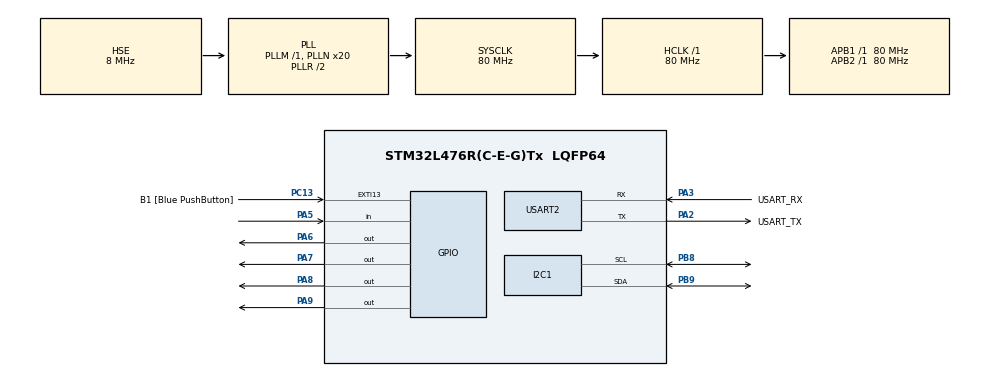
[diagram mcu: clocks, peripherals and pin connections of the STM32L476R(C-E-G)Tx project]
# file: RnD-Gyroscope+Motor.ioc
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I2C1.Timing=0x10909CEC
Mcu.Family=STM32L4
Mcu.Name=STM32L476R(C-E-G)Tx
Mcu.Package=LQFP64
NVIC.PriorityGroup=NVIC_PRIORITYGROUP_4
PA13\ (JTMS-SWDIO).GPIO_Label=TMS
PA13\ (JTMS-SWDIO).Mode=Serial_Wire
PA13\ (JTMS-SWDIO).Signal=SYS_JTMS-SWDIO
PA14\ (JTCK-SWCLK).GPIO_Label=TCK
PA14\ (JTCK-SWCLK).Mode=Serial_Wire
PA14\ (JTCK-SWCLK).Signal=SYS_JTCK-SWCLK
PA2.GPIO_Label=USART_TX
PA2.GPIO_Mode=GPIO_MODE_AF_PP
PA2.GPIO_PuPd=GPIO_NOPULL
PA2.GPIO_Speed=GPIO_SPEED_FREQ_VERY_HIGH
PA2.Mode=Asynchronous
PA2.Signal=USART2_TX
PA3.GPIO_Label=USART_RX
PA3.GPIO_Mode=GPIO_MODE_AF_PP
PA3.GPIO_PuPd=GPIO_NOPULL
PA3.GPIO_Speed=GPIO_SPEED_FREQ_VERY_HIGH
PA3.Mode=Asynchronous
PA3.Signal=USART2_RX
PA5.GPIO_PuPd=GPIO_PULLDOWN
PA5.Signal=GPIO_Input
PA6.GPIO_Speed=GPIO_SPEED_FREQ_MEDIUM
PA6.PinState=GPIO_PIN_SET
PA6.Signal=GPIO_Output
PA7.GPIO_Speed=GPIO_SPEED_FREQ_MEDIUM
PA7.PinState=GPIO_PIN_SET
PA7.Signal=GPIO_Output
PA8.GPIO_Speed=GPIO_SPEED_FREQ_MEDIUM
PA8.PinState=GPIO_PIN_SET
PA8.Signal=GPIO_Output
PA9.GPIO_Speed=GPIO_SPEED_FREQ_MEDIUM
PA9.PinState=GPIO_PIN_SET
PA9.Signal=GPIO_Output
PB3\ (JTDO-TRACESWO).GPIO_Label=SWO
PB3\ (JTDO-TRACESWO).Signal=SYS_JTDO-SWO
PB8.Mode=I2C
PB8.Signal=I2C1_SCL
PB9.Mode=I2C
PB9.Signal=I2C1_SDA
PC13.GPIO_Label=B1 [Blue PushButton]
PC13.GPIO_ModeDefaultEXTI=GPIO_MODE_IT_FALLING
PC13.GPIO_PuPd=GPIO_NOPULL
PC13.Signal=GPXTI13
PC14-OSC32_IN\ (PC14).Signal=RCC_OSC32_IN
PC15-OSC32_OUT\ (PC15).Signal=RCC_OSC32_OUT
PH0-OSC_IN\ (PH0).Mode=HSE-External-Oscillator
PH0-OSC_IN\ (PH0).Signal=RCC_OSC_IN
PH1-OSC_OUT\ (PH1).Mode=HSE-External-Oscillator
PH1-OSC_OUT\ (PH1).Signal=RCC_OSC_OUT
ProjectManager.HeapSize=0x200
ProjectManager.StackSize=0x400
ProjectManager.TargetToolchain=STM32CubeIDE
RCC.ADCFreq_Value=32000000
RCC.AHBFreq_Value=80000000
RCC.APB1Freq_Value=80000000
RCC.APB1TimFreq_Value=80000000
RCC.APB2Freq_Value=80000000
RCC.APB2TimFreq_Value=80000000
RCC.CortexFreq_Value=80000000
RCC.HCLKFreq_Value=80000000
RCC.HSE_VALUE=8000000
RCC.HSI_VALUE=16000000
RCC.MSI_VALUE=4000000
RCC.PLLN=20
RCC.PLLSourceVirtual=RCC_PLLSOURCE_HSE
RCC.PREFETCH_ENABLE=1
RCC.SYSCLKFreq_VALUE=80000000
RCC.SYSCLKSource=RCC_SYSCLKSOURCE_PLLCLK
RCC.USBFreq_Value=32000000
RCC.VCOOutputFreq_Value=160000000
TIM16.Period=10000-1
TIM16.Prescaler=8000-1
USART2.VirtualMode-Asynchronous=VM_ASYNC
VP_TIM16_VS_ClockSourceINT.Mode=Enable_Timer
board=NUCLEO-L476RG

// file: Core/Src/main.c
/* USER CODE BEGIN Header */
/**
 ******************************************************************************
 * @file           : main.c
 * @brief          : Main program body
 ******************************************************************************
 * @attention
 *
 * Copyright (c) 2023 STMicroelectronics.
 * All rights reserved.
 *
 * This software is licensed under terms that can be found in the LICENSE file
 * in the root directory of this software component.
 * If no LICENSE file comes with this software, it is provided AS-IS.
 *
 ******************************************************************************
 */
/* USER CODE END Header */
#include "main.h"

/* USER CODE BEGIN Includes */
#include "stdio.h"
#include "string.h"
#include "math.h"

/* USER CODE END Includes */

/* USER CODE BEGIN PD */
#define MPU6050_ADDR 0x68 << 1
#define SMPLRT_DIV_REG 0x19
#define GYRO_CONFIG_REG 0x1B
#define TEMP_OUT_H_REG 0x41
#define GYRO_ZOUT_H_REG 0x47
#define PWR_MGMT_1_REG 0x6B
#define WHO_AM_I_REG 0x75

/* USER CODE END PD */

I2C_HandleTypeDef hi2c1;

TIM_HandleTypeDef htim16;

UART_HandleTypeDef huart2;

/* USER CODE BEGIN PV */
int16_t gyro_raw = 0;

float gyro, gyroOffset, gyroMargin = 0;
uint16_t timer_val;
/* USER CODE END PV */

void SystemClock_Config(void);
static void MX_GPIO_Init(void);
static void MX_USART2_UART_Init(void);
static void MX_I2C1_Init(void);
static void MX_TIM16_Init(void);

/* USER CODE BEGIN 0 */
void MPU6050_Init(void)
{
    uint8_t check;
    uint8_t Data;
    char buffer[16];

    //Check WHO_AM_I address
    HAL_I2C_Mem_Read(&hi2c1, MPU6050_ADDR, WHO_AM_I_REG, 1, &check, 1, 1000);

    sprintf(buffer, "\n\rAddr: %d\n", check);
    HAL_UART_Transmit(&huart2, buffer, strlen(buffer), HAL_MAX_DELAY);
    if(check == 104)
    {
        //Write all 0's to wake sensor up
        Data = 0;
        HAL_I2C_Mem_Write(&hi2c1, MPU6050_ADDR, PWR_MGMT_1_REG, 1, &Data, 1, 1000);

        //Set data rate of 1KHz
        Data = 0x07;
        HAL_I2C_Mem_Write(&hi2c1, MPU6050_ADDR, SMPLRT_DIV_REG, 1, &Data, 1, 1000);

        //Set Gyroscopic configuration
        Data = 0xE0;
        HAL_I2C_Mem_Write(&hi2c1, MPU6050_ADDR, GYRO_CONFIG_REG, 1, &Data, 1, 1000);
    }
    else
    {
    	//Reset and look for MPU6050 again
        HAL_NVIC_SystemReset();
        HAL_Delay(1200);
    }
}

void MPU6050_Read_Gyro(void)
{
    uint8_t Rec_Data[2];

    //Get raw gyro data
    HAL_I2C_Mem_Read(&hi2c1, MPU6050_ADDR, GYRO_ZOUT_H_REG, 1, Rec_Data, 2, 1000);
    gyro_raw = (int16_t)(Rec_Data[0] << 8 | Rec_Data[1]);

    gyro = ((gyro_raw / 94.4) - gyroOffset);
}

void MPU6050_Calibrate(void)
{
    char buffer[64];
    float count = 512;
    float gyroSum = 0;

    for(int i = 0; i < count; i++)
    {
        MPU6050_Read_Gyro();

        //To get avg values
        gyroSum += gyro;

        //To get max values
        if(fabs(gyro) > gyroMargin)
            gyroMargin = fabs(gyro);
    }
    //Avg values for offset
    gyroOffset = gyroSum / count;

    //Max value for idle margin of error
    gyroMargin = ((gyroMargin - gyroOffset) * 1.1);

    sprintf(buffer, "\rGyro: |%.3f| |%.3f|\n", gyroOffset, gyroMargin);
    HAL_UART_Transmit(&huart2, buffer, strlen(buffer), HAL_MAX_DELAY);
}

void checkAngle(int angle)
{
	char buffer[16];
	float value, sum = 0;

	while(1)
	{
		MPU6050_Read_Gyro();
		if(fabs(gyro) > gyroMargin)
			sum += gyro;

		value = sum * 0.02;
		sprintf(buffer, "\rAngle: %.2f\n", value);
		HAL_UART_Transmit(&huart2, buffer, strlen(buffer), HAL_MAX_DELAY);
		if(((angle > 0) && (value >= angle)) || ((angle < 0) && (value <= angle)))
			break;
		HAL_Delay(10);
	}
}

int getSensor(void)
{
	int infared = HAL_GPIO_ReadPin(GPIOA, GPIO_PIN_5);
	if(infared == 0)
		return 1;

	return 0;
}

void forwardControl(int time)
{
	char buffer[16];
	float value, sum = 0;
	uint16_t base_time = __HAL_TIM_GET_COUNTER(&htim16);
	timer_val = __HAL_TIM_GET_COUNTER(&htim16) - base_time;

	while(timer_val < time)
	{
		if(getSensor() == 0)
			return;

		MPU6050_Read_Gyro();
		if(fabs(gyro) > gyroMargin)
			sum += gyro;

		value = sum * 0.001;
		sprintf(buffer, "\rAngle: %.2f\n", value);
		HAL_UART_Transmit(&huart2, buffer, strlen(buffer), HAL_MAX_DELAY);
		if(value <= -1)
		{
			HAL_GPIO_WritePin(GPIOA, GPIO_PIN_6, 1);	// Right motor 1
			HAL_GPIO_WritePin(GPIOA, GPIO_PIN_7, 0);	// Right motor 2
			HAL_GPIO_WritePin(GPIOA, GPIO_PIN_8, 1);	// Left motor 1
			HAL_GPIO_WritePin(GPIOA, GPIO_PIN_9, 1);	// Left motor 2
		}
		else if(value >= 1)
		{
			HAL_GPIO_WritePin(GPIOA, GPIO_PIN_6, 1);	// Right motor 1
			HAL_GPIO_WritePin(GPIOA, GPIO_PIN_7, 1);	// Right motor 2
			HAL_GPIO_WritePin(GPIOA, GPIO_PIN_8, 1);	// Left motor 1
			HAL_GPIO_WritePin(GPIOA, GPIO_PIN_9, 0);	// Left motor 2
		}
		else
		{
			HAL_GPIO_WritePin(GPIOA, GPIO_PIN_6, 1);	// Right motor 1
			HAL_GPIO_WritePin(GPIOA, GPIO_PIN_7, 0);	// Right motor 2
			HAL_GPIO_WritePin(GPIOA, GPIO_PIN_8, 1);	// Left motor 1
			HAL_GPIO_WritePin(GPIOA, GPIO_PIN_9, 0);	// Left motor 2
		}
		timer_val = __HAL_TIM_GET_COUNTER(&htim16) - base_time;
	}
	sprintf(buffer, "\r%d\n", timer_val);
	HAL_UART_Transmit(&huart2, buffer, strlen(buffer), HAL_MAX_DELAY);
}

void stop(void)
{
	HAL_GPIO_WritePin(GPIOA, GPIO_PIN_6, 1);	// Right motor 1
	HAL_GPIO_WritePin(GPIOA, GPIO_PIN_7, 1);	// Right motor 2
	HAL_GPIO_WritePin(GPIOA, GPIO_PIN_8, 1);	// Left motor 1
	HAL_GPIO_WritePin(GPIOA, GPIO_PIN_9, 1);	// Left motor 2
}

void forward(int time)
{
	time = time * 500;
	forwardControl(time);
	stop();
	HAL_Delay(100);
}

void backward(int time)
{
	HAL_GPIO_WritePin(GPIOA, GPIO_PIN_6, 1);	// Right motor 1
	HAL_GPIO_WritePin(GPIOA, GPIO_PIN_7, 0);	// Right motor 2
	HAL_GPIO_WritePin(GPIOA, GPIO_PIN_8, 1);	// Left motor 1
	HAL_GPIO_WritePin(GPIOA, GPIO_PIN_9, 0);	// Left motor 2
	HAL_Delay(time);
	stop();
	HAL_Delay(100);
}

void left(int angle)
{
	HAL_GPIO_WritePin(GPIOA, GPIO_PIN_6, 1);	// Right motor 1
	HAL_GPIO_WritePin(GPIOA, GPIO_PIN_7, 0);	// Right motor 2
	HAL_GPIO_WritePin(GPIOA, GPIO_PIN_8, 1);	// Left motor 1
	HAL_GPIO_WritePin(GPIOA, GPIO_PIN_9, 1);	// Left motor 2
	checkAngle(angle);
	stop();
	HAL_Delay(100);
}

void right(int angle)
{
	HAL_GPIO_WritePin(GPIOA, GPIO_PIN_6, 1);	// Right motor 1
	HAL_GPIO_WritePin(GPIOA, GPIO_PIN_7, 1);	// Right motor 2
	HAL_GPIO_WritePin(GPIOA, GPIO_PIN_8, 1);	// Left motor 1
	HAL_GPIO_WritePin(GPIOA, GPIO_PIN_9, 0);	// Left motor 2
	checkAngle(-angle);
	stop();
	HAL_Delay(100);
}
/* USER CODE END 0 */

int main(void)
{

  /* MCU Configuration--------------------------------------------------------*/

  /* Reset of all peripherals, Initializes the Flash interface and the Systick. */
  HAL_Init();

  /* Configure the system clock */
  SystemClock_Config();

  /* Initialize all configured peripherals */
  MX_GPIO_Init();
  MX_USART2_UART_Init();
  MX_I2C1_Init();
  MX_TIM16_Init();
  /* USER CODE BEGIN 2 */
	stop();
	MPU6050_Init();
	HAL_Delay(1000);
  	while(HAL_GPIO_ReadPin(GPIOC, GPIO_PIN_13) != 0);
  	HAL_Delay(400);
    MPU6050_Calibrate();
    HAL_Delay(200);
    HAL_TIM_Base_Start(&htim16);

    forward(1);
    left(90);
    forward(5);

  /* USER CODE END 2 */

  /* Infinite loop */
  /* USER CODE BEGIN WHILE */
//        while(1)
//        {
//
//        }
    /* USER CODE END WHILE */

}

void SystemClock_Config(void)
{
  RCC_OscInitTypeDef RCC_OscInitStruct = {0};
  RCC_ClkInitTypeDef RCC_ClkInitStruct = {0};

  /** Configure the main internal regulator output voltage
  */
  if (HAL_PWREx_ControlVoltageScaling(PWR_REGULATOR_VOLTAGE_SCALE1) != HAL_OK)
  {
    Error_Handler();
  }

  /** Initializes the RCC Oscillators according to the specified parameters
  * in the RCC_OscInitTypeDef structure.
  */
  RCC_OscInitStruct.OscillatorType = RCC_OSCILLATORTYPE_HSE;
  RCC_OscInitStruct.HSEState = RCC_HSE_ON;
  RCC_OscInitStruct.PLL.PLLState = RCC_PLL_ON;
  RCC_OscInitStruct.PLL.PLLSource = RCC_PLLSOURCE_HSE;
  RCC_OscInitStruct.PLL.PLLM = 1;
  RCC_OscInitStruct.PLL.PLLN = 20;
  RCC_OscInitStruct.PLL.PLLP = RCC_PLLP_DIV7;
  RCC_OscInitStruct.PLL.PLLQ = RCC_PLLQ_DIV2;
  RCC_OscInitStruct.PLL.PLLR = RCC_PLLR_DIV2;
  if (HAL_RCC_OscConfig(&RCC_OscInitStruct) != HAL_OK)
  {
    Error_Handler();
  }

  /** Initializes the CPU, AHB and APB buses clocks
  */
  RCC_ClkInitStruct.ClockType = RCC_CLOCKTYPE_HCLK|RCC_CLOCKTYPE_SYSCLK
                              |RCC_CLOCKTYPE_PCLK1|RCC_CLOCKTYPE_PCLK2;
  RCC_ClkInitStruct.SYSCLKSource = RCC_SYSCLKSOURCE_PLLCLK;
  RCC_ClkInitStruct.AHBCLKDivider = RCC_SYSCLK_DIV1;
  RCC_ClkInitStruct.APB1CLKDivider = RCC_HCLK_DIV1;
  RCC_ClkInitStruct.APB2CLKDivider = RCC_HCLK_DIV1;

  if (HAL_RCC_ClockConfig(&RCC_ClkInitStruct, FLASH_LATENCY_4) != HAL_OK)
  {
    Error_Handler();
  }
}

static void MX_I2C1_Init(void)
{

  hi2c1.Instance = I2C1;
  hi2c1.Init.Timing = 0x10909CEC;
  hi2c1.Init.OwnAddress1 = 0;
  hi2c1.Init.AddressingMode = I2C_ADDRESSINGMODE_7BIT;
  hi2c1.Init.DualAddressMode = I2C_DUALADDRESS_DISABLE;
  hi2c1.Init.OwnAddress2 = 0;
  hi2c1.Init.OwnAddress2Masks = I2C_OA2_NOMASK;
  hi2c1.Init.GeneralCallMode = I2C_GENERALCALL_DISABLE;
  hi2c1.Init.NoStretchMode = I2C_NOSTRETCH_DISABLE;
  if (HAL_I2C_Init(&hi2c1) != HAL_OK)
  {
    Error_Handler();
  }

  /** Configure Analogue filter
  */
  if (HAL_I2CEx_ConfigAnalogFilter(&hi2c1, I2C_ANALOGFILTER_ENABLE) != HAL_OK)
  {
    Error_Handler();
  }

  /** Configure Digital filter
  */
  if (HAL_I2CEx_ConfigDigitalFilter(&hi2c1, 0) != HAL_OK)
  {
    Error_Handler();
  }

}

static void MX_TIM16_Init(void)
{

  htim16.Instance = TIM16;
  htim16.Init.Prescaler = 8000-1;
  htim16.Init.CounterMode = TIM_COUNTERMODE_UP;
  htim16.Init.Period = 10000-1;
  htim16.Init.ClockDivision = TIM_CLOCKDIVISION_DIV1;
  htim16.Init.RepetitionCounter = 0;
  htim16.Init.AutoReloadPreload = TIM_AUTORELOAD_PRELOAD_DISABLE;
  if (HAL_TIM_Base_Init(&htim16) != HAL_OK)
  {
    Error_Handler();
  }

}

static void MX_USART2_UART_Init(void)
{

  huart2.Instance = USART2;
  huart2.Init.BaudRate = 115200;
  huart2.Init.WordLength = UART_WORDLENGTH_8B;
  huart2.Init.StopBits = UART_STOPBITS_1;
  huart2.Init.Parity = UART_PARITY_NONE;
  huart2.Init.Mode = UART_MODE_TX_RX;
  huart2.Init.HwFlowCtl = UART_HWCONTROL_NONE;
  huart2.Init.OverSampling = UART_OVERSAMPLING_16;
  huart2.Init.OneBitSampling = UART_ONE_BIT_SAMPLE_DISABLE;
  huart2.AdvancedInit.AdvFeatureInit = UART_ADVFEATURE_NO_INIT;
  if (HAL_UART_Init(&huart2) != HAL_OK)
  {
    Error_Handler();
  }

}

static void MX_GPIO_Init(void)
{
  GPIO_InitTypeDef GPIO_InitStruct = {0};

  /* GPIO Ports Clock Enable */
  __HAL_RCC_GPIOC_CLK_ENABLE();
  __HAL_RCC_GPIOH_CLK_ENABLE();
  __HAL_RCC_GPIOA_CLK_ENABLE();
  __HAL_RCC_GPIOB_CLK_ENABLE();

  /*Configure GPIO pin Output Level */
  HAL_GPIO_WritePin(GPIOA, GPIO_PIN_6|GPIO_PIN_7|GPIO_PIN_8|GPIO_PIN_9, GPIO_PIN_SET);

  /*Configure GPIO pin : B1_Pin */
  GPIO_InitStruct.Pin = B1_Pin;
  GPIO_InitStruct.Mode = GPIO_MODE_IT_FALLING;
  GPIO_InitStruct.Pull = GPIO_NOPULL;
  HAL_GPIO_Init(B1_GPIO_Port, &GPIO_InitStruct);

  /*Configure GPIO pin : PA5 */
  GPIO_InitStruct.Pin = GPIO_PIN_5;
  GPIO_InitStruct.Mode = GPIO_MODE_INPUT;
  GPIO_InitStruct.Pull = GPIO_PULLDOWN;
  HAL_GPIO_Init(GPIOA, &GPIO_InitStruct);

  /*Configure GPIO pins : PA6 PA7 PA8 PA9 */
  GPIO_InitStruct.Pin = GPIO_PIN_6|GPIO_PIN_7|GPIO_PIN_8|GPIO_PIN_9;
  GPIO_InitStruct.Mode = GPIO_MODE_OUTPUT_PP;
  GPIO_InitStruct.Pull = GPIO_NOPULL;
  GPIO_InitStruct.Speed = GPIO_SPEED_FREQ_MEDIUM;
  HAL_GPIO_Init(GPIOA, &GPIO_InitStruct);

}

void Error_Handler(void)
{
}
